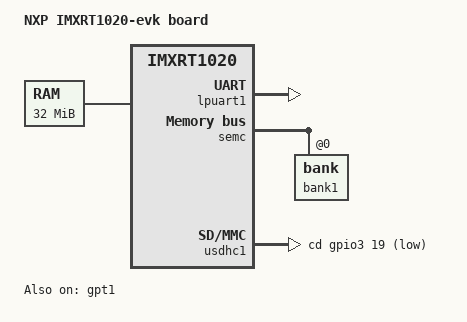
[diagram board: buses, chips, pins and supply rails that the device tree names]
// SPDX-License-Identifier: (GPL-2.0+ OR BSD-3-Clause)
/*
 * Copyright (C) 2020
 * Author(s): Giulio Benetti <giulio.benetti@benettiengineering.com>
 */

/dts-v1/;
#include "imxrt1020.dtsi"
#include "imxrt1020-pinfunc.h"

/ {
	model = "NXP IMXRT1020-evk board";
	compatible = "fsl,imxrt1020-evk", "fsl,imxrt1020";

	chosen {
		bootargs = "root=/dev/ram";
		stdout-path = "serial0:115200n8";
		tick-timer = &gpt1;
	};

	memory {
		device_type = "memory";
		reg = <0x80000000 0x2000000>;
	};
};

&lpuart1 { /* console */
	pinctrl-names = "default";
	pinctrl-0 = <&pinctrl_lpuart1>;
	status = "okay";
};

&semc {
	/*
	 * Memory configuration from sdram datasheet IS42S16160J-6TLI
	 */
	fsl,sdram-mux = /bits/ 8 <MUX_A8_SDRAM_A8
				MUX_CSX0_SDRAM_CS1
				0
				0
				0
				0>;
	fsl,sdram-control = /bits/ 8 <MEM_WIDTH_16BITS
					BL_8
					COL_9BITS
					CL_3>;
	fsl,sdram-timing = /bits/ 8 <0x2
				     0x2
				     0x9
				     0x1
				     0x5
				     0x6

				     0x20
				     0x09
				     0x01
				     0x00

				     0x04
				     0x0A
				     0x21
				     0x50>;

	bank1: bank@0 {
		fsl,base-address = <0x80000000>;
		fsl,memory-size = <MEM_SIZE_32M>;
	};
};

&iomuxc {
	pinctrl-names = "default";
	pinctrl-0 = <&pinctrl_lpuart1>;

	imxrt1020-evk {
		pinctrl_lpuart1: lpuart1grp {
			fsl,pins = <
				MXRT1020_IOMUXC_GPIO_AD_B0_06_LPUART1_TX
					0xf1
				MXRT1020_IOMUXC_GPIO_AD_B0_07_LPUART1_RX
					0xf1
			>;
		};

		pinctrl_semc: semcgrp {
			fsl,pins = <
				MXRT1020_IOMUXC_GPIO_EMC_00_SEMC_DA00
					0xf1	/* SEMC_D0 */
				MXRT1020_IOMUXC_GPIO_EMC_01_SEMC_DA01
					0xf1	/* SEMC_D1 */
				MXRT1020_IOMUXC_GPIO_EMC_02_SEMC_DA02
					0xf1	/* SEMC_D2 */
				MXRT1020_IOMUXC_GPIO_EMC_03_SEMC_DA03
					0xf1	/* SEMC_D3 */
				MXRT1020_IOMUXC_GPIO_EMC_04_SEMC_DA04
					0xf1	/* SEMC_D4 */
				MXRT1020_IOMUXC_GPIO_EMC_05_SEMC_DA05
					0xf1	/* SEMC_D5 */
				MXRT1020_IOMUXC_GPIO_EMC_06_SEMC_DA06
					0xf1	/* SEMC_D6 */
				MXRT1020_IOMUXC_GPIO_EMC_07_SEMC_DA07
					0xf1	/* SEMC_D7 */
				MXRT1020_IOMUXC_GPIO_EMC_08_SEMC_DM00
					0xf1	/* SEMC_DM0 */
				MXRT1020_IOMUXC_GPIO_EMC_09_SEMC_ADDR00
					0xf1	/* SEMC_A0 */
				MXRT1020_IOMUXC_GPIO_EMC_10_SEMC_CAS
					0xf1	/* SEMC_CAS */
				MXRT1020_IOMUXC_GPIO_EMC_11_SEMC_RAS
					0xf1	/* SEMC_RAS */
				MXRT1020_IOMUXC_GPIO_EMC_12_SEMC_CS0
					0xf1	/* SEMC_CS0 */
				MXRT1020_IOMUXC_GPIO_EMC_13_SEMC_BA0
					0xf1	/* SEMC_BA0 */
				MXRT1020_IOMUXC_GPIO_EMC_14_SEMC_BA1
					0xf1	/* SEMC_BA1 */
				MXRT1020_IOMUXC_GPIO_EMC_15_SEMC_ADDR10
					0xf1	/* SEMC_A10 */
				MXRT1020_IOMUXC_GPIO_EMC_16_SEMC_ADDR00
					0xf1	/* SEMC_A0 */
				MXRT1020_IOMUXC_GPIO_EMC_17_SEMC_ADDR01
					0xf1	/* SEMC_A1 */
				MXRT1020_IOMUXC_GPIO_EMC_18_SEMC_ADDR02
					0xf1	/* SEMC_A2 */
				MXRT1020_IOMUXC_GPIO_EMC_19_SEMC_ADDR03
					0xf1	/* SEMC_A3 */
				MXRT1020_IOMUXC_GPIO_EMC_20_SEMC_ADDR04
					0xf1	/* SEMC_A4 */
				MXRT1020_IOMUXC_GPIO_EMC_21_SEMC_ADDR05
					0xf1	/* SEMC_A5 */
				MXRT1020_IOMUXC_GPIO_EMC_22_SEMC_ADDR06
					0xf1	/* SEMC_A6 */
				MXRT1020_IOMUXC_GPIO_EMC_23_SEMC_ADDR07
					0xf1	/* SEMC_A7 */
				MXRT1020_IOMUXC_GPIO_EMC_24_SEMC_ADDR08
					0xf1	/* SEMC_A8 */
				MXRT1020_IOMUXC_GPIO_EMC_25_SEMC_ADDR09
					0xf1	/* SEMC_A9 */
				MXRT1020_IOMUXC_GPIO_EMC_26_SEMC_ADDR11
					0xf1	/* SEMC_A11 */
				MXRT1020_IOMUXC_GPIO_EMC_27_SEMC_ADDR12
					0xf1	/* SEMC_A12 */
				MXRT1020_IOMUXC_GPIO_EMC_28_SEMC_DQS
					(IMX_PAD_SION | 0xf1)	/* SEMC_DQS */
				MXRT1020_IOMUXC_GPIO_EMC_29_SEMC_CKE
					0xf1	/* SEMC_CKE */
				MXRT1020_IOMUXC_GPIO_EMC_30_SEMC_CLK
					0xf1	/* SEMC_CLK */
				MXRT1020_IOMUXC_GPIO_EMC_31_SEMC_DM01
					0xf1	/* SEMC_DM01 */
				MXRT1020_IOMUXC_GPIO_EMC_32_SEMC_DATA08
					0xf1	/* SEMC_D8 */
				MXRT1020_IOMUXC_GPIO_EMC_33_SEMC_DATA09
					0xf1	/* SEMC_D9 */
				MXRT1020_IOMUXC_GPIO_EMC_34_SEMC_DATA10
					0xf1	/* SEMC_D10 */
				MXRT1020_IOMUXC_GPIO_EMC_35_SEMC_DATA11
					0xf1	/* SEMC_D11 */
				MXRT1020_IOMUXC_GPIO_EMC_36_SEMC_DATA12
					0xf1	/* SEMC_D12 */
				MXRT1020_IOMUXC_GPIO_EMC_37_SEMC_DATA13
					0xf1	/* SEMC_D13 */
				MXRT1020_IOMUXC_GPIO_EMC_38_SEMC_DATA14
					0xf1	/* SEMC_D14 */
				MXRT1020_IOMUXC_GPIO_EMC_39_SEMC_DATA15
					0xf1	/* SEMC_D15 */
			>;
		};

		pinctrl_usdhc0: usdhc0grp {
			fsl,pins = <
				MXRT1020_IOMUXC_GPIO_SD_B0_06_USDHC1_CD_B
					0x1B000
				MXRT1020_IOMUXC_GPIO_SD_B0_02_USDHC1_CMD
					0x17061
				MXRT1020_IOMUXC_GPIO_SD_B0_03_USDHC1_CLK
					0x17061
				MXRT1020_IOMUXC_GPIO_SD_B0_01_USDHC1_DATA3
					0x17061
				MXRT1020_IOMUXC_GPIO_SD_B0_00_USDHC1_DATA2
					0x17061
				MXRT1020_IOMUXC_GPIO_SD_B0_05_USDHC1_DATA1
					0x17061
				MXRT1020_IOMUXC_GPIO_SD_B0_04_USDHC1_DATA0
					0x17061
			>;
		};
	};
};

&gpt1 {
	status = "okay";
};

&usdhc1 {
	pinctrl-names = "default", "state_100mhz", "state_200mhz", "sleep";
	pinctrl-0 = <&pinctrl_usdhc0>;
	pinctrl-1 = <&pinctrl_usdhc0>;
	pinctrl-2 = <&pinctrl_usdhc0>;
	pinctrl-3 = <&pinctrl_usdhc0>;
	status = "okay";

	cd-gpios = <&gpio3 19 GPIO_ACTIVE_LOW>;
};
